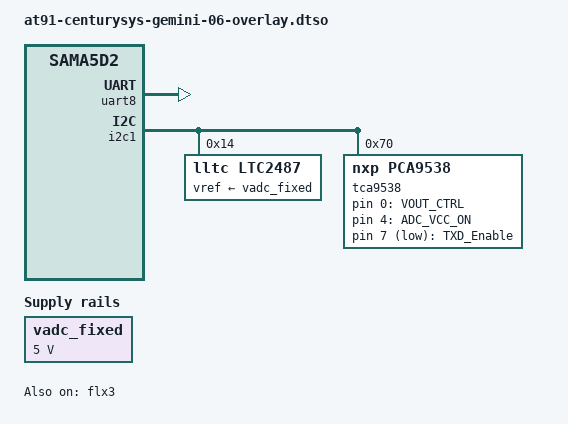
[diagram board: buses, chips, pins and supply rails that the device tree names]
// SPDX-License-Identifier: (GPL-2.0+ OR MIT)
/*
 * at91-centurysys-gemini-06-overlay.dtso - Device Tree Overlay for Century Systems Gemini board
 *
 * Copyright (C) 2022-2026 Century Systems
 */
/dts-v1/;
/plugin/;
#include "sama5d2-pinfunc.h"
#include <dt-bindings/mfd/atmel-flexcom.h>
#include <dt-bindings/gpio/gpio.h>
#include <dt-bindings/interrupt-controller/irq.h>
#include <dt-bindings/pinctrl/at91.h>

/ {
	compatible = "atmel,sama5d2-gemini", "atmel,sama5d2", "atmel,sama5";
};

&pioA {
	pinctrl_flx3_uart_default: flx3_usart_default {
		pinmux = <PIN_PC20__FLEXCOM3_IO0>, /* TX */
			 <PIN_PC19__FLEXCOM3_IO1>; /* RX */
		bias-disable;
	};
};

/ {
	vadc_fixed: regulator-adc {
		compatible = "regulator-fixed";
		regulator-name = "VADC_5V";
		regulator-min-microvolt = <5000000>;
		regulator-max-microvolt = <5000000>;
	};
};

&flx3 {
	atmel,flexcom-mode = <ATMEL_FLEXCOM_MODE_USART>;
	status = "okay";
};

/* uart8 is the FLX3 USART child in Linux 6.12. */
&uart8 {
	pinctrl-names = "default";
	pinctrl-0 = <&pinctrl_flx3_uart_default>;
	status = "okay";
};

&i2c1 {
	#address-cells = <1>;
	#size-cells = <0>;
	/* Water Meter Option (xio_id: 0x06) */
	ltc2487: ltc2487@14 {
		compatible = "lltc,ltc2487";
		reg = <0x14>;
		vref-supply = <&vadc_fixed>;
	};

	tca9538: tca9538@70 {
		compatible = "nxp,pca9538";
		reg = <0x70>;
		gpio-controller;
		#gpio-cells = <2>;
		gpio-line-names = "eFUSE_SHDN_N",
				  "eFUSE_FLT_N",
				  "Reserved2",
				  "Reserved3",
				  "DISO_PDIS_N",
				  "Reserved5",
				  "Reserved6",
				  "TXD_Enable";
	};
};

&leds {
	tca953x_efuse_shdn_n {
		label = "VOUT_CTRL";
		gpios = <&tca9538 0 GPIO_ACTIVE_HIGH>;
	};

	tca953x_adc_vcc_on {
		label = "ADC_VCC_ON";
		gpios = <&tca9538 4 GPIO_ACTIVE_HIGH>;
		default-state = "on";
	};

	tca953x_txd_enable {
		label = "TXD_Enable";
		gpios = <&tca9538 7 GPIO_ACTIVE_LOW>;
	};
};
